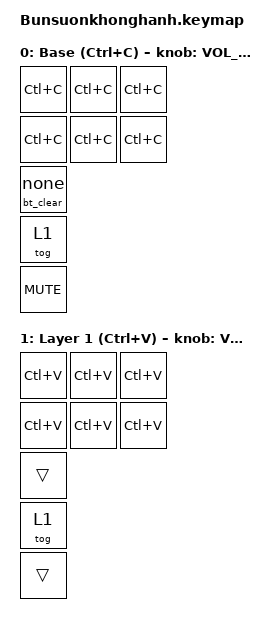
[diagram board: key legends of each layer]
/*
 * Copyright (c) 2026 The ZMK Contributors
 * SPDX-License-Identifier: MIT
 */

#include <behaviors.dtsi>
#include <dt-bindings/zmk/keys.h>
#include <dt-bindings/zmk/bt.h>
#include <dt-bindings/zmk/outputs.h>

/ {
    macros {
        // Macro để thực hiện lệnh xóa/ngắt kết nối Bluetooth
        bt_clear: bt_clear {
            compatible = "zmk,behavior-macro";
            #binding-cells = <0>;
            bindings = <&bt BT_CLR>;
        };
    };

    behaviors {
        // Nút phụ 1: Nhấn nhanh không làm gì, giữ 5s (5000ms) để xóa/ngắt kết nối Bluetooth
        bt_ht: bt_hold_tap {
            compatible = "zmk,behavior-hold-tap";
            #binding-cells = <2>;
            flavor = "hold-preferred";
            tapping-term-ms = <5000>;
            bindings = <&bt_clear>, <&none>;
        };

        // Giữ combo cả 2 nút phụ 5s (5000ms) để khởi động lại (reboot) mạch
        reboot_ht: reboot_hold_tap {
            compatible = "zmk,behavior-hold-tap";
            #binding-cells = <2>;
            flavor = "hold-preferred";
            tapping-term-ms = <5000>;
            bindings = <&sys_reset>, <&none>;
        };
    };

    combos {
        compatible = "zmk,combos";

        // Bấm đồng thời nút phụ 1 (vị trí 6) và nút phụ 2 (vị trí 7) rồi giữ 5s để reboot
        combo_reboot {
            timeout-ms = <100>;
            key-positions = <6 7>;
            bindings = <&reboot_ht 0 0>;
        };
    };

    keymap {
        compatible = "zmk,keymap";

        default_layer {
            display-name = "Base (Ctrl+C)";
            bindings = <
                &kp LC(C)    &kp LC(C)    &kp LC(C)
                &kp LC(C)    &kp LC(C)    &kp LC(C)
                &bt_ht 0 0
                &tog 1
                &kp C_MUTE
            >;
            sensor-bindings = <&inc_dec_kp C_VOL_UP C_VOL_DN>;
        };

        layer_1 {
            display-name = "Layer 1 (Ctrl+V)";
            bindings = <
                &kp LC(V)    &kp LC(V)    &kp LC(V)
                &kp LC(V)    &kp LC(V)    &kp LC(V)
                &trans
                &tog 1
                &trans
            >;
            sensor-bindings = <&inc_dec_kp C_VOL_UP C_VOL_DN>;
        };
    };
};
